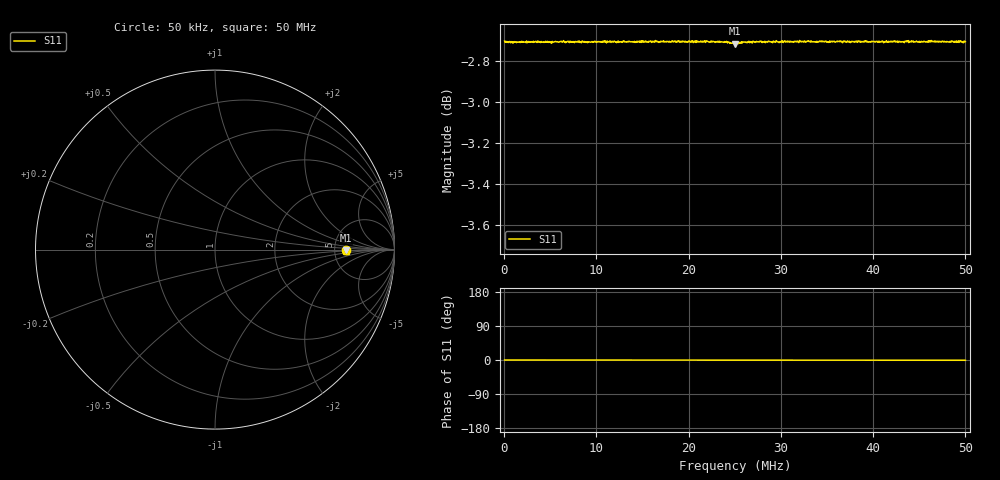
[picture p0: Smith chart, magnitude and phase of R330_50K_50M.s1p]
# HZ S RI R 50
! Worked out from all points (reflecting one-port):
!   1010 points, 50 kHz to 50 MHz, reference 50 ohm
!   lowest |S11| = -2.7 dB at 25.05 MHz (marker M1), VSWR 6.44, Z = 322 - j5.98 ohm
!   phase of S11 starts at 0 deg and turns -1 deg over the sweep
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50000  0.7323 0.000234
1139088  0.732 -0.000208
3416272  0.7322 -0.000651
5049904  0.7317 -0.000991
6337008  0.7321 -0.000883
8168656  0.7321 -0.00117
8812208  0.732 -0.00171
9356752  0.7319 -0.00137
1.257451e7  0.7321 -0.00233
1.881202e7  0.7323 -0.00338
2.193077e7  0.7325 -0.00426
2.381192e7  0.7318 -0.00453
2.504952e7  0.7313 -0.00432
2.579208e7  0.7316 -0.00421
2.757422e7  0.732 -0.00447
2.821778e7  0.7318 -0.00469
2.940587e7  0.7318 -0.00527
3.128702e7  0.7321 -0.00553
3.306917e7  0.7322 -0.00592
3.376222e7  0.7319 -0.0056
3.440578e7  0.7323 -0.00625
3.752453e7  0.7317 -0.00665
4.376203e7  0.7321 -0.00772
4.499963e7  0.7319 -0.00801
4.623723e7  0.732 -0.00817
4.70293e7  0.7321 -0.00834
4.876194e7  0.7318 -0.00886
4.999954e7  0.7321 -0.00902
